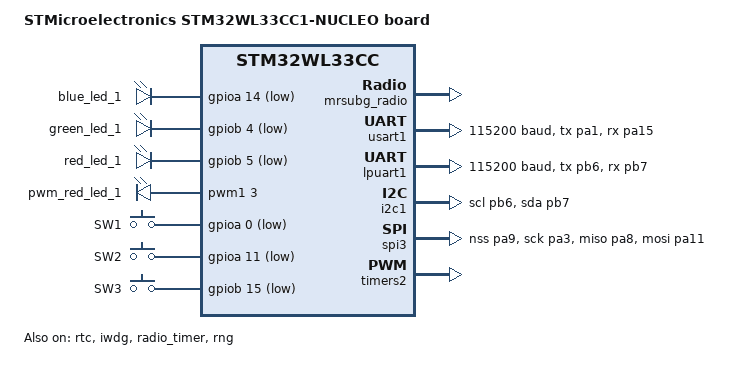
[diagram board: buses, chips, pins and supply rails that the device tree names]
/*
 * Copyright (c) 2024 STMicroelectronics
 * Copyright (c) 2026 Movu robotics
 *
 * SPDX-License-Identifier: Apache-2.0
 */

/dts-v1/;
#include <st/wl3/stm32wl33Xc.dtsi>
#include <st/wl3/stm32wl33ccvx-pinctrl.dtsi>
#include <zephyr/dt-bindings/input/input-event-codes.h>

#include "arduino_r3_connector.dtsi"

/ {
	model = "STMicroelectronics STM32WL33CC1-NUCLEO board";
	compatible = "st,stm32wl33cc-nucleo";

	#address-cells = <1>;
	#size-cells = <1>;

	chosen {
		zephyr,console = &usart1;
		zephyr,shell-uart = &usart1;
		zephyr,sram = &sram0;
		zephyr,flash = &flash0;
		zephyr,entropy = &rng;
	};

	mrsubg_radio: radio@49000000 {
		status = "okay";
		compatible = "st,mrsubg";
        reg = <0x49000000 DT_SIZE_K(2)>;
	};

	leds: leds {
		compatible = "gpio-leds";

		blue_led_1: led_0 {
			gpios = <&gpioa 14 (GPIO_ACTIVE_LOW | GPIO_PULL_UP)>;
		};

		green_led_1: led_1 {
			gpios = <&gpiob 4 (GPIO_ACTIVE_LOW | GPIO_PULL_UP)>;
		};

		red_led_1: led_2 {
			gpios = <&gpiob 5 (GPIO_ACTIVE_LOW | GPIO_PULL_UP)>;
		};
	};

	pwmleds: pwmleds {
		compatible = "pwm-leds";
		status = "okay";

		pwm_red_led_1: pwm_led_1 {
			pwms = <&pwm1 3 PWM_MSEC(20) PWM_POLARITY_NORMAL>;
		};
	};

	gpio_keys {
		compatible = "gpio-keys";

		user_button_1: button_0 {
			label = "SW1";
			gpios = <&gpioa 0 (GPIO_ACTIVE_LOW | GPIO_PULL_UP)>;
			zephyr,code = <INPUT_KEY_0>;
		};

		user_button_2: button_1 {
			label = "SW2";
			gpios = <&gpioa 11 (GPIO_ACTIVE_LOW | GPIO_PULL_UP)>;
			zephyr,code = <INPUT_KEY_1>;
		};

		user_button_3: button_2 {
			label = "SW3";
			gpios = <&gpiob 15 (GPIO_ACTIVE_LOW | GPIO_PULL_UP)>;
			zephyr,code = <INPUT_KEY_2>;
		};
	};

	aliases {
		rtc = &rtc;
		led0 = &blue_led_1;
		led1 = &green_led_1;
		led2 = &red_led_1;
		pwm-led0 = &pwm_red_led_1;
		sw0 = &user_button_1;
		sw1 = &user_button_2;
		sw2 = &user_button_3;
		watchdog0 = &iwdg;
	};
};

&pwrc {
	smps-mode = "RUN";
	smps-bom = <1>;
	smps-output-voltage = "1V40";
};

&clk_lse {
	status = "okay";
};

// &clk_lsi {
// 	status = "okay";
// };

&clk_hse {
	status = "okay";
};

&clk_hsi {
	status = "okay";
};

&pll {
	status = "okay";
};

&rcc {
	clocks = <&pll>;
	clock-frequency = <DT_FREQ_M(48)>;
	clksys-prescaler = <1>;
	slow-clock = <&clk_lse>;
	// slow-clock = <&clk_lsi>;
};

&rtc {
	clocks = <&rcc STM32_CLOCK(APB0, 12)>,
		 <&rcc STM32_SRC_LSE NO_SEL>;
	status = "okay";
};

&iwdg {
	status = "okay";
};

&radio_timer {
	status = "okay";
};

&usart1 {
	pinctrl-0 = <&usart1_tx_pa1 &usart1_rx_pa15>;
	pinctrl-names = "default";
	current-speed = <115200>;
	status = "okay";
};

&lpuart1 {
	pinctrl-0 = <&lpuart1_tx_pb6 &lpuart1_rx_pb7>;
	pinctrl-names = "default";
	current-speed = <115200>;
	status = "okay";
};

&i2c1 {
	pinctrl-0 = <&i2c1_scl_pb6 &i2c1_sda_pb7>;
	pinctrl-names = "default";
	status = "okay";
};

&spi3 {
	pinctrl-0 = <&spi3_nss_pa9 &spi3_sck_pa3 &spi3_miso_pa8 &spi3_mosi_pa11>;
	pinctrl-names = "default";
	status = "okay";
	/* Select 64MHz clock for SPI3 */
	clocks = <&rcc STM32_CLOCK(APB1, 14)>,
		 <&rcc STM32_SRC_SYSCLK SPI3_I2S_SEL(3)>;
};

&timers2 {
	status = "okay";
	st,prescaler = <10000>;
	pwm1: pwm {
		// STM32WL3 series supports only one PWM output in the HAL drivers
		pinctrl-0 = <&tim2_ch1_pa4>;
		pinctrl-names = "default";
		status = "okay";
	};
};

&rng {
	status = "okay";
};

&flash0 {
	partitions {
		compatible = "fixed-partitions";
		#address-cells = <1>;
		#size-cells = <1>;

		/* Set 8KB of storage at the end of 192KB flash */
		storage_partition: partition@3e000 {
			label = "storage";
			reg = <0x0003e000 DT_SIZE_K(8)>;
		};
	};
};
